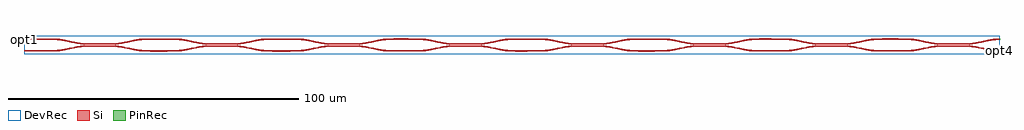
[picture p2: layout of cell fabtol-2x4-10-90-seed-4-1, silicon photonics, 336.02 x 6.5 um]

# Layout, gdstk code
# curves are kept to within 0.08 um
import gdstk
lib = gdstk.Library(unit=1e-6, precision=1e-09)
def R(c, l, rs):  # rectangles x0, y0, x1, y1
    for r in rs: c.add(gdstk.rectangle(r[:2], r[2:], *l))
def P(c, l, *ps):  # polygons
    for p in ps: c.add(gdstk.Polygon(p, *l))
Si = (1, 0)
PinRec = (1, 10)
DevRec = (68, 0)

layer_3_0_phase_sec_3_38 = lib.new_cell('layer-3_0_phase_sec_3$38')
P(layer_3_0_phase_sec_3_38, Si, [(2.29,-0.233),(0,-0.225),(0,0.225),(10,0.225),(10,-0.225)])

layer_3_0_phase_sec_1_38 = lib.new_cell('layer-3_0_phase_sec_1$38')
P(layer_3_0_phase_sec_1_38, Si, [(5.705,-0.231),(0,-0.225),(0,0.225),(10,0.225),(10,-0.225)])

layer_0_0_phase_sec_1_38 = lib.new_cell('layer-0_0_phase_sec_1$38')
P(layer_0_0_phase_sec_1_38, Si, [(3.65,-0.228),(0,-0.225),(0,0.225),(10,0.225),(10,-0.225)])

layer_3_0_phase_sec_0_38 = lib.new_cell('layer-3_0_phase_sec_0$38')
P(layer_3_0_phase_sec_0_38, Si, [(1.052,-0.249),(0,-0.225),(0,0.225),(10,0.225),(10,-0.225)])

layer_0_0_phase_sec_3_38 = lib.new_cell('layer-0_0_phase_sec_3$38')
P(layer_0_0_phase_sec_3_38, Si, [(2.903,-0.248),(0,-0.225),(0,0.225),(10,0.225),(10,-0.225)])

layer_0_0_phase_sec_2_38 = lib.new_cell('layer-0_0_phase_sec_2$38')
P(layer_0_0_phase_sec_2_38, Si, [(3.409,-0.231),(0,-0.225),(0,0.225),(10,0.225),(10,-0.225)])

layer_1_0_phase_sec_3_38 = lib.new_cell('layer-1_0_phase_sec_3$38')
P(layer_1_0_phase_sec_3_38, Si, [(1.317,-0.233),(0,-0.225),(0,0.225),(10,0.225),(10,-0.225)])

layer_1_0_phase_sec_0_38 = lib.new_cell('layer-1_0_phase_sec_0$38')
P(layer_1_0_phase_sec_0_38, Si, [(2.411,-0.235),(0,-0.225),(0,0.225),(10,0.225),(10,-0.225)])

layer_0_0_phase_sec_0_38 = lib.new_cell('layer-0_0_phase_sec_0$38')
P(layer_0_0_phase_sec_0_38, Si, [(4.221,-0.239),(0,-0.225),(0,0.225),(10,0.225),(10,-0.225)])

layer_2_0_phase_sec_0_38 = lib.new_cell('layer-2_0_phase_sec_0$38')
P(layer_2_0_phase_sec_0_38, Si, [(5.307,-0.233),(0,-0.225),(0,0.225),(10,0.225),(10,-0.225)])

layer_3_0_phase_sec_2_38 = lib.new_cell('layer-3_0_phase_sec_2$38')
P(layer_3_0_phase_sec_2_38, Si, [(4.168,-0.245),(0,-0.225),(0,0.225),(10,0.225),(10,-0.225)])

layer_1_0_phase_sec_1_38 = lib.new_cell('layer-1_0_phase_sec_1$38')
P(layer_1_0_phase_sec_1_38, Si, [(6.069,-0.246),(0,-0.225),(0,0.225),(10,0.225),(10,-0.225)])

layer_2_0_phase_sec_1_38 = lib.new_cell('layer-2_0_phase_sec_1$38')
P(layer_2_0_phase_sec_1_38, Si, [(4.221,-0.246),(0,-0.225),(0,0.225),(10,0.225),(10,-0.225)])

dc_arm_down_38 = lib.new_cell('dc_arm_down$38')
R(dc_arm_down_38, Si, [(12,-0.55,20,-0.1)])
P(dc_arm_down_38, Si, [(32,-2.225),(30.861,-2.188),(29.344,-2.033),(22.966,-0.793),(21.481,-0.613),(20,-0.55),(20,-0.1),(21.139,-0.137),(22.656,-0.292),(29.034,-1.532),(30.519,-1.712),(32,-1.775)],
  [(0,-2.225),(0,-1.775),(1.481,-1.712),(2.966,-1.532),(9.344,-0.292),(10.861,-0.137),(12,-0.1),(12,-0.55),(10.519,-0.613),(9.034,-0.793),(2.656,-2.033),(1.139,-2.188)])

dc_arm_up_38 = lib.new_cell('dc_arm_up$38')
R(dc_arm_up_38, Si, [(12,0.1,20,0.55)])
P(dc_arm_up_38, Si, [(20,0.1),(20,0.55),(21.481,0.613),(22.966,0.793),(29.344,2.033),(30.861,2.188),(32,2.225),(32,1.775),(30.519,1.712),(29.034,1.532),(22.656,0.292),(21.139,0.137)],
  [(12,0.1),(10.861,0.137),(9.344,0.292),(2.966,1.532),(1.481,1.712),(0,1.775),(0,2.225),(1.139,2.188),(2.656,2.033),(9.034,0.793),(10.519,0.613),(12,0.55)])

dc_38 = lib.new_cell('dc$38')
dc_38.add(gdstk.Reference(dc_arm_down_38, (0,0)))
dc_38.add(gdstk.Reference(dc_arm_up_38, (0,0)))

layer_2_0_phase_sec_2_38 = lib.new_cell('layer-2_0_phase_sec_2$38')
P(layer_2_0_phase_sec_2_38, Si, [(2.263,-0.233),(0,-0.225),(0,0.225),(10,0.225),(10,-0.225)])

layer_1_0_phase_sec_2_38 = lib.new_cell('layer-1_0_phase_sec_2$38')
P(layer_1_0_phase_sec_2_38, Si, [(6.355,-0.246),(0,-0.225),(0,0.225),(10,0.225),(10,-0.225)])

layer_2_0_phase_sec_3_38 = lib.new_cell('layer-2_0_phase_sec_3$38')
P(layer_2_0_phase_sec_3_38, Si, [(2.866,-0.247),(0,-0.225),(0,0.225),(10,0.225),(10,-0.225)])

fabtol_2x4_10_90_seed_4_ = lib.new_cell('fabtol-2x4-10-90-seed-4-1')
R(fabtol_2x4_10_90_seed_4_, DevRec, [(0,-1,336,5.497)])
fabtol_2x4_10_90_seed_4_.add(gdstk.FlexPath([(335.99,0.248),(336.01,0.248)], 0.45, ends="flush", simple_path=True, layer=1, datatype=10))  # PinRec
fabtol_2x4_10_90_seed_4_.add(gdstk.FlexPath([(335.99,4.248),(336.01,4.248)], 0.45, ends="flush", simple_path=True, layer=1, datatype=10))  # PinRec
fabtol_2x4_10_90_seed_4_.add(gdstk.FlexPath([(0.01,4.248),(-0.01,4.248)], 0.45, ends="flush", simple_path=True, layer=1, datatype=10))  # PinRec
fabtol_2x4_10_90_seed_4_.add(gdstk.Reference(layer_3_0_phase_sec_3_38, (294,0.248)))
fabtol_2x4_10_90_seed_4_.add(gdstk.Reference(layer_3_0_phase_sec_1_38, (252,0.248)))
fabtol_2x4_10_90_seed_4_.add(gdstk.Reference(layer_0_0_phase_sec_1_38, (0,0.248)))
fabtol_2x4_10_90_seed_4_.add(gdstk.Reference(layer_3_0_phase_sec_0_38, (252,4.248)))
fabtol_2x4_10_90_seed_4_.add(gdstk.Reference(layer_0_0_phase_sec_3_38, (42,0.248)))
fabtol_2x4_10_90_seed_4_.add(gdstk.Reference(layer_0_0_phase_sec_2_38, (42,4.248)))
fabtol_2x4_10_90_seed_4_.add(gdstk.Reference(layer_1_0_phase_sec_3_38, (126,0.248)))
fabtol_2x4_10_90_seed_4_.add(gdstk.Reference(layer_1_0_phase_sec_0_38, (84,4.248)))
fabtol_2x4_10_90_seed_4_.add(gdstk.Reference(layer_0_0_phase_sec_0_38, (0,4.248)))
fabtol_2x4_10_90_seed_4_.add(gdstk.Reference(layer_2_0_phase_sec_0_38, (168,4.248)))
fabtol_2x4_10_90_seed_4_.add(gdstk.Reference(layer_3_0_phase_sec_2_38, (294,4.248)))
fabtol_2x4_10_90_seed_4_.add(gdstk.Reference(layer_1_0_phase_sec_1_38, (84,0.248)))
fabtol_2x4_10_90_seed_4_.add(gdstk.Reference(layer_2_0_phase_sec_1_38, (168,0.248)))
fabtol_2x4_10_90_seed_4_.add(gdstk.Reference(dc_38, (10,2.248)))
fabtol_2x4_10_90_seed_4_.add(gdstk.Reference(dc_38, (52,2.248)))
fabtol_2x4_10_90_seed_4_.add(gdstk.Reference(dc_38, (94,2.248)))
fabtol_2x4_10_90_seed_4_.add(gdstk.Reference(dc_38, (136,2.248)))
fabtol_2x4_10_90_seed_4_.add(gdstk.Reference(dc_38, (178,2.248)))
fabtol_2x4_10_90_seed_4_.add(gdstk.Reference(dc_38, (220,2.248)))
fabtol_2x4_10_90_seed_4_.add(gdstk.Reference(dc_38, (262,2.248)))
fabtol_2x4_10_90_seed_4_.add(gdstk.Reference(dc_38, (304,2.248)))
fabtol_2x4_10_90_seed_4_.add(gdstk.Reference(layer_2_0_phase_sec_2_38, (210,4.248)))
fabtol_2x4_10_90_seed_4_.add(gdstk.Reference(layer_1_0_phase_sec_2_38, (126,4.248)))
fabtol_2x4_10_90_seed_4_.add(gdstk.Reference(layer_2_0_phase_sec_3_38, (210,0.248)))
fabtol_2x4_10_90_seed_4_.add(gdstk.Label('opt4', (336,0.248), layer=1, texttype=10))
fabtol_2x4_10_90_seed_4_.add(gdstk.Label('opt3', (336,4.248), layer=1, texttype=10))
fabtol_2x4_10_90_seed_4_.add(gdstk.Label('opt1', (0,4.248), layer=1, texttype=10))

lib.write_gds('fabtol-2x4-10-90-seed-4-1.gds')
